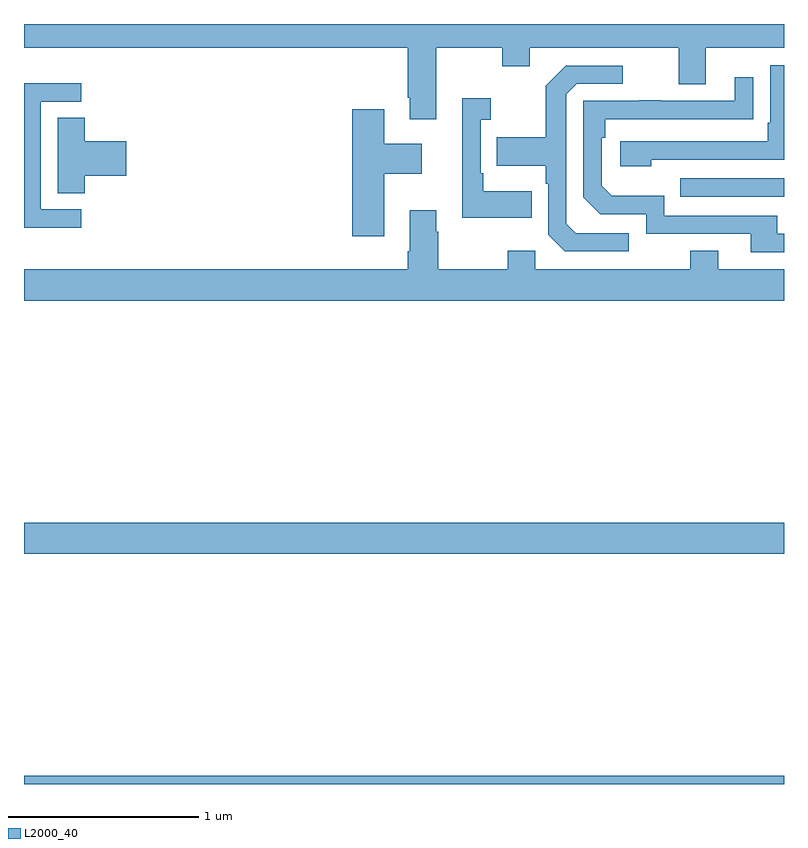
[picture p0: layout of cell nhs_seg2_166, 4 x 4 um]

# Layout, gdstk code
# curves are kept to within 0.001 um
import gdstk
lib = gdstk.Library(unit=1e-6, precision=1e-09)
def R(c, l, rs):  # rectangles x0, y0, x1, y1
    for r in rs: c.add(gdstk.rectangle(r[:2], r[2:], *l))
def P(c, l, *ps):  # polygons
    for p in ps: c.add(gdstk.Polygon(p, *l))
L2000_40 = (2000, 40)

nhs_seg2_166 = lib.new_cell('nhs_seg2_166')
R(nhs_seg2_166, L2000_40, [(119,603.8,123,603.844), (119,605.012,123,605.176), (122.455,606.891,123,606.987)])
P(nhs_seg2_166, L2000_40, [(121.171,607.676),(121.516,607.676),(121.516,607.577),(121.663,607.577),(121.663,607.676),(122.447,607.676),(122.447,607.482),(122.587,607.482),(122.587,607.676),(123,607.676),(123,607.8),(119,607.8),(119,607.676),(121.019,607.676),(121.019,607.411),(121.031,607.411),(121.031,607.299),(121.171,607.299)],
  [(122.3,607.086),(123,607.086),(123,607.584),(122.928,607.584),(122.928,607.279),(122.915,607.279),(122.915,607.182),(122.139,607.182),(122.139,607.052),(122.3,607.052)],
  [(122.182,606.699),(121.905,606.699),(121.854,606.75),(121.854,607.431),(121.908,607.485),(122.152,607.485),(122.152,607.581),(121.851,607.581),(121.746,607.475),(121.746,607.203),(121.489,607.203),(121.489,607.055),(121.746,607.055),(121.746,606.959),(121.758,606.959),(121.758,606.69),(121.845,606.603),(122.182,606.603)],
  [(123,606.696),(122.965,606.696),(122.965,606.792),(122.37,606.792),(122.37,606.895),(122.093,606.895),(122.04,606.948),(122.04,607.202),(122.06,607.202),(122.06,607.299),(122.837,607.3),(122.837,607.519),(122.741,607.519),(122.741,607.395),(122.351,607.395),(122.351,607.4),(122.239,607.4),(122.239,607.395),(121.944,607.395),(121.944,606.888),(122.034,606.798),(122.274,606.798),(122.274,606.696),(122.825,606.696),(122.825,606.6),(123,606.6)],
  [(119.302,606.825),(119.088,606.825),(119.088,607.392),(119.302,607.392),(119.302,607.488),(119,607.488),(119,606.727),(119.302,606.727)],
  [(121.673,606.919),(121.417,606.919),(121.417,607.015),(121.404,607.015),(121.404,607.295),(121.456,607.295),(121.456,607.408),(121.307,607.408),(121.307,606.779),(121.673,606.779)],
  [(120.895,607.013),(121.093,607.013),(121.093,607.171),(120.895,607.171),(120.895,607.351),(120.728,607.351),(120.728,606.684),(120.895,606.684)],
  [(119.321,607.001),(119.539,607.001),(119.539,607.184),(119.321,607.184),(119.321,607.307),(119.177,607.307),(119.177,606.91),(119.321,606.91)],
  [(123,606.508),(122.653,606.508),(122.653,606.607),(122.506,606.607),(122.506,606.508),(121.692,606.508),(121.692,606.607),(121.546,606.607),(121.546,606.508),(121.179,606.508),(121.179,606.707),(121.171,606.707),(121.171,606.82),(121.031,606.82),(121.031,606.604),(121.019,606.604),(121.019,606.508),(119,606.508),(119,606.344),(123,606.344)])

lib.write_gds('nhs_seg2_166.gds')
